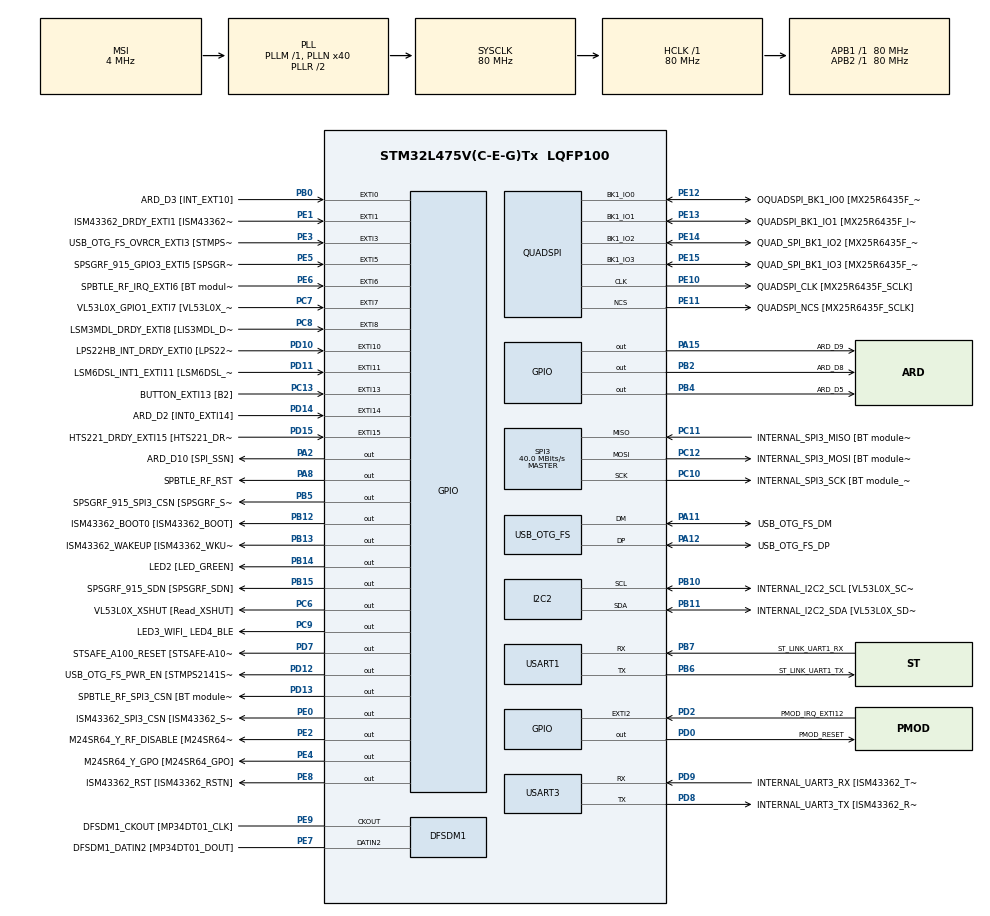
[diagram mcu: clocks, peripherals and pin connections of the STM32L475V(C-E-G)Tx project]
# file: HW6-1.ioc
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ADC1.Channel-0\#ChannelRegularConversion=ADC_CHANNEL_TEMPSENSOR
ADC1.ClockPrescaler=ADC_CLOCK_SYNC_PCLK_DIV4
ADC1.ContinuousConvMode=DISABLE
ADC1.ExternalTrigConv=ADC_EXTERNALTRIG_T1_TRGO
ADC1.NbrOfConversionFlag=1
ADC1.OffsetNumber-0\#ChannelRegularConversion=ADC_OFFSET_NONE
ADC1.Rank-0\#ChannelRegularConversion=1
ADC1.SamplingTime-0\#ChannelRegularConversion=ADC_SAMPLETIME_2CYCLES_5
ADC1.master=1
FREERTOS.Tasks01=defaultTask,24,128,StartDefaultTask,Default,NULL,Dynamic,NULL,NULL;myTask02,24,128,StartTask02,Default,NULL,Dynamic,NULL,NULL
I2C2.Timing=0x10D19CE4
Mcu.Family=STM32L4
Mcu.Name=STM32L475V(C-E-G)Tx
Mcu.Package=LQFP100
NVIC.ADC1_2_IRQn=true\:5\:0\:false\:false\:true\:true\:true\:true\:true
NVIC.EXTI15_10_IRQn=true\:5\:0\:false\:false\:true\:true\:true\:true\:true
NVIC.EXTI9_5_IRQn=true\:5\:0\:false\:false\:true\:true\:true\:true\:true
NVIC.PriorityGroup=NVIC_PRIORITYGROUP_4
PA0.GPIO_Label=ARD_D1 [UART4_TX]
PA0.Signal=UART4_TX
PA1.GPIO_Label=ARD_D0 [UART4_RX]
PA1.Signal=UART4_RX
PA10.GPIO_Label=USB_OTG_FS_ID
PA10.Signal=USB_OTG_FS_ID
PA11.GPIO_Label=USB_OTG_FS_DM
PA11.Mode=Device_Only
PA11.Signal=USB_OTG_FS_DM
PA12.GPIO_Label=USB_OTG_FS_DP
PA12.Mode=Device_Only
PA12.Signal=USB_OTG_FS_DP
PA13\ (JTMS-SWDIO).GPIO_Label=SYS_JTMS_SWDIO
PA13\ (JTMS-SWDIO).Mode=Serial_Wire
PA13\ (JTMS-SWDIO).Signal=SYS_JTMS-SWDIO
PA14\ (JTCK-SWCLK).GPIO_Label=SYS_JTCK_SWCLK
PA14\ (JTCK-SWCLK).Mode=Serial_Wire
PA14\ (JTCK-SWCLK).Signal=SYS_JTCK-SWCLK
PA15\ (JTDI).GPIO_Label=ARD_D9
PA15\ (JTDI).Signal=GPIO_Output
PA2.GPIO_Label=ARD_D10 [SPI_SSN]
PA2.Signal=GPIO_Output
PA3.GPIO_Label=ARD_D4
PA3.Signal=S_TIM2_CH4
PA4.GPIO_Label=ARD_D7
PA4.Signal=ADCx_IN9
PA5.GPIO_Label=ARD_D13 [SPI1_SCK]
PA5.Signal=SPI1_SCK
PA6.GPIO_Label=ARD_D12 [SPI1_MISO]
PA6.Signal=SPI1_MISO
PA7.GPIO_Label=ARD_D11 [SPI1_MOSI]
PA7.Signal=SPI1_MOSI
PA8.GPIO_Label=SPBTLE_RF_RST
PA8.Signal=GPIO_Output
PA9.GPIO_Label=USB_OTG_FS_VBUS [STMPS2141STR_OUT]
PA9.Signal=USB_OTG_FS_VBUS
PB0.GPIO_Label=ARD_D3 [INT_EXT10]
PB0.Signal=GPXTI0
PB1.GPIO_Label=ARD_D6 [ADC1_IN6]
PB1.Signal=ADCx_IN16
PB10.GPIO_Label=INTERNAL_I2C2_SCL [VL53L0X_SCL]
PB10.GPIO_Pu=GPIO_PULLUP
PB10.Mode=I2C
PB10.Signal=I2C2_SCL
PB11.GPIO_Label=INTERNAL_I2C2_SDA [VL53L0X_SDA]
PB11.GPIO_Pu=GPIO_PULLUP
PB11.Mode=I2C
PB11.Signal=I2C2_SDA
PB12.GPIO_Label=ISM43362_BOOT0 [ISM43362_BOOT]
PB12.Signal=GPIO_Output
PB13.GPIO_Label=ISM43362_WAKEUP [ISM43362_WKUP]
PB13.Signal=GPIO_Output
PB14.GPIO_Label=LED2 [LED_GREEN]
PB14.Signal=GPIO_Output
PB15.GPIO_Label=SPSGRF_915_SDN [SPSGRF_SDN]
PB15.Signal=GPIO_Output
PB2.GPIO_Label=ARD_D8
PB2.Signal=GPIO_Output
PB3\ (JTDO-TRACESWO).GPIO_Label=SYS_JTD0_SWO
PB3\ (JTDO-TRACESWO).Signal=SYS_JTDO-SWO
PB4\ (NJTRST).GPIO_Label=ARD_D5
PB4\ (NJTRST).Signal=GPIO_Output
PB5.GPIO_Label=SPSGRF_915_SPI3_CSN [SPSGRF_SPI_CS]
PB5.PinState=GPIO_PIN_SET
PB5.Signal=GPIO_Output
PB6.GPIO_Label=ST_LINK_UART1_TX
PB6.Mode=Asynchronous
PB6.Signal=USART1_TX
PB7.GPIO_Label=ST_LINK_UART1_RX
PB7.Mode=Asynchronous
PB7.Signal=USART1_RX
PB8.GPIO_Label=ARD_D15 [I2C1_SCL]
PB8.Signal=I2C1_SCL
PB9.GPIO_Label=ARD_D14 [I2C1_SDA]
PB9.Signal=I2C1_SDA
PC0.GPIO_Label=ARD_A5 [ADC]
PC0.Signal=ADCx_IN1
PC1.GPIO_Label=ARD_A4 [ADC]
PC1.Signal=ADCx_IN2
PC10.GPIO_Label=INTERNAL_SPI3_SCK [BT module_SPI_SCLK] [ISM43362_SCK]
PC10.Mode=Full_Duplex_Master
PC10.Signal=SPI3_SCK
PC11.GPIO_Label=INTERNAL_SPI3_MISO [BT module_SPI_MISO] [ISM43362_MISO]
PC11.Mode=Full_Duplex_Master
PC11.Signal=SPI3_MISO
PC12.GPIO_Label=INTERNAL_SPI3_MOSI [BT module_SPI_MOSI] [ISM43362_MOSI]
PC12.Mode=Full_Duplex_Master
PC12.Signal=SPI3_MOSI
PC13.GPIO_Label=BUTTON_EXTI13 [B2]
PC13.GPIO_ModeDefaultEXTI=GPIO_MODE_IT_FALLING
PC13.Signal=GPXTI13
PC14-OSC32_IN\ (PC14).Mode=LSE-External-Oscillator
PC14-OSC32_IN\ (PC14).Signal=RCC_OSC32_IN
PC15-OSC32_OUT\ (PC15).Mode=LSE-External-Oscillator
PC15-OSC32_OUT\ (PC15).Signal=RCC_OSC32_OUT
PC2.GPIO_Label=ARD_A3 [ADC]
PC2.Signal=ADCx_IN3
PC3.GPIO_Label=ARD_A2 [ADC]
PC3.Signal=ADCx_IN4
PC4.GPIO_Label=ARD_A1 [ADC]
PC4.Signal=ADCx_IN13
PC5.GPIO_Label=ARD_A0 [ADC]
PC5.Signal=ADCx_IN14
PC6.GPIO_Label=VL53L0X_XSHUT [Read_XSHUT]
PC6.Signal=GPIO_Output
PC7.GPIO_Label=VL53L0X_GPIO1_EXTI7 [VL53L0X_GPIO1]
PC7.Signal=GPXTI7
PC8.GPIO_Label=LSM3MDL_DRDY_EXTI8 [LIS3MDL_DRDY]
PC8.Signal=GPXTI8
PC9.GPIO_Label=LED3_WIFI_ LED4_BLE
PC9.Signal=GPIO_Output
PD0.GPIO_Label=PMOD_RESET
PD0.Signal=GPIO_Output
PD1.GPIO_Label=PMOD_SPI2_SCK
PD1.Signal=SPI2_SCK
PD10.GPIO_Label=LPS22HB_INT_DRDY_EXTI0 [LPS22HB_INT_DRDY] 
PD10.Signal=GPXTI10
PD11.GPIO_Label=LSM6DSL_INT1_EXTI11 [LSM6DSL_INT1]
PD11.Signal=GPXTI11
PD12.GPIO_Label=USB_OTG_FS_PWR_EN [STMPS2141STR_EN]
PD12.Signal=GPIO_Output
PD13.GPIO_Label=SPBTLE_RF_SPI3_CSN [BT module_SPI_CS]
PD13.PinState=GPIO_PIN_SET
PD13.Signal=GPIO_Output
PD14.GPIO_Label=ARD_D2 [INT0_EXTI14]
PD14.Signal=GPXTI14
PD15.GPIO_Label=HTS221_DRDY_EXTI15 [HTS221_DRDY]
PD15.Signal=GPXTI15
PD2.GPIO_Label=PMOD_IRQ_EXTI12
PD2.Signal=GPXTI2
PD3.GPIO_Label=PMOD_UART2_CTS
PD3.Signal=USART2_CTS
PD4.GPIO_Label=PMOD_UART2_RTS
PD4.Signal=USART2_RTS
PD5.GPIO_Label=PMOD_UART2_TX
PD5.Signal=USART2_TX
PD6.GPIO_Label=PMOD_UART2_RX
PD6.Signal=USART2_RX
PD7.GPIO_Label=STSAFE_A100_RESET [STSAFE-A100_RESET]
PD7.Signal=GPIO_Output
PD8.GPIO_Label=INTERNAL_UART3_TX [ISM43362_RX]
PD8.Mode=Asynchronous
PD8.Signal=USART3_TX
PD9.GPIO_Label=INTERNAL_UART3_RX [ISM43362_TX]
PD9.Mode=Asynchronous
PD9.Signal=USART3_RX
PE0.GPIO_Label=ISM43362_SPI3_CSN [ISM43362_SSN]
PE0.PinState=GPIO_PIN_SET
PE0.Signal=GPIO_Output
PE1.GPIO_Label=ISM43362_DRDY_EXTI1 [ISM43362_DATARDY]
PE1.Signal=GPXTI1
PE10.GPIO_Label=QUADSPI_CLK [MX25R6435F_SCLK]
PE10.Mode=Single Bank
PE10.Signal=QUADSPI_CLK
PE11.GPIO_Label=QUADSPI_NCS [MX25R6435F_SCLK]
PE11.Mode=Single Bank
PE11.Signal=QUADSPI_NCS
PE12.GPIO_Label=OQUADSPI_BK1_IO0 [MX25R6435F_IO0]
PE12.Mode=Single Bank
PE12.Signal=QUADSPI_BK1_IO0
PE13.GPIO_Label=QUADSPI_BK1_IO1 [MX25R6435F_IO1]
PE13.Mode=Single Bank
PE13.Signal=QUADSPI_BK1_IO1
PE14.GPIO_Label=QUAD_SPI_BK1_IO2 [MX25R6435F_IO2]
PE14.Mode=Single Bank
PE14.Signal=QUADSPI_BK1_IO2
PE15.GPIO_Label=QUAD_SPI_BK1_IO3 [MX25R6435F_IO3]
PE15.Mode=Single Bank
PE15.Signal=QUADSPI_BK1_IO3
PE2.GPIO_Label=M24SR64_Y_RF_DISABLE [M24SR64_RFDIS]
PE2.Signal=GPIO_Output
PE3.GPIO_Label=USB_OTG_FS_OVRCR_EXTI3 [STMPS2141STR_FAULT]
PE3.Signal=GPXTI3
PE4.GPIO_Label=M24SR64_Y_GPO [M24SR64_GPO]
PE4.Signal=GPIO_Output
PE5.GPIO_Label=SPSGRF_915_GPIO3_EXTI5 [SPSGRF_GPIO_3]
PE5.Signal=GPXTI5
PE6.GPIO_Label=SPBTLE_RF_IRQ_EXTI6 [BT module_SPI_IRQ]
PE6.Signal=GPXTI6
PE7.GPIO_Label=DFSDM1_DATIN2 [MP34DT01_DOUT]
PE7.Signal=S_DATAIN2DFSDM1
PE8.GPIO_Label=ISM43362_RST [ISM43362_RSTN]
PE8.Signal=GPIO_Output
PE9.GPIO_Label=DFSDM1_CKOUT [MP34DT01_CLK]
PE9.Signal=S_CKOUTDFSDM1
ProjectManager.HeapSize=0x200
ProjectManager.StackSize=0x400
ProjectManager.TargetToolchain=STM32CubeIDE
QUADSPI.ClockPrescaler=2
QUADSPI.FifoThreshold=4
QUADSPI.FlashSize=23
QUADSPI.SampleShifting=QSPI_SAMPLE_SHIFTING_HALFCYCLE
RCC.ADCFreq_Value=48000000
RCC.AHBFreq_Value=80000000
RCC.APB1Freq_Value=80000000
RCC.APB1TimFreq_Value=80000000
RCC.APB2Freq_Value=80000000
RCC.APB2TimFreq_Value=80000000
RCC.CortexFreq_Value=80000000
RCC.HCLKFreq_Value=80000000
RCC.HSE_VALUE=8000000
RCC.HSI_VALUE=16000000
RCC.MSI_VALUE=4000000
RCC.PLLN=40
RCC.PLLSAI1N=24
RCC.SYSCLKFreq_VALUE=80000000
RCC.SYSCLKSource=RCC_SYSCLKSOURCE_PLLCLK
RCC.USBFreq_Value=48000000
RCC.VCOOutputFreq_Value=160000000
SH.ADCx_IN1.0=ADC1_IN1
SH.ADCx_IN13.0=ADC1_IN13
SH.ADCx_IN14.0=ADC1_IN14
SH.ADCx_IN16.0=ADC1_IN16
SH.ADCx_IN2.0=ADC1_IN2
SH.ADCx_IN3.0=ADC1_IN3
SH.ADCx_IN4.0=ADC1_IN4
SH.ADCx_IN9.0=ADC1_IN9
SH.S_CKOUTDFSDM1.0=DFSDM1_CKOUT,CKOUT
SH.S_CKOUTDFSDM1.1=DFSDM1_CKOUT,PDM_SPI_Input_from_ch12_and_Internal_Clock
SH.S_DATAIN2DFSDM1.0=DFSDM1_DATIN2,PDM_SPI_Input_from_ch12_and_Internal_Clock
SH.S_TIM2_CH4.0=TIM2_CH4
SPI3.CalculateBaudRate=40.0 MBits/s
SPI3.Direction=SPI_DIRECTION_2LINES
SPI3.Mode=SPI_MODE_MASTER
SPI3.VirtualType=VM_MASTER
TIM1.Period=1999
TIM1.Prescaler=9999
TIM1.TIM_MasterOutputTrigger=TIM_TRGO_UPDATE
USART1.VirtualMode-Asynchronous=VM_ASYNC
USART3.VirtualMode-Asynchronous=VM_ASYNC
USB_OTG_FS.VirtualMode=Device_Only
VP_ADC1_TempSens_Input.Mode=IN-TempSens
VP_FREERTOS_VS_CMSIS_V2.Mode=CMSIS_V2
VP_TIM1_VS_ClockSourceINT.Mode=Internal
board=B-L475E-IOT01A1

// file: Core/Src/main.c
/* USER CODE BEGIN Header */
/**
  ******************************************************************************
  * @file           : main.c
  * @brief          : Main program body
  ******************************************************************************
  * @attention
  *
  * Copyright (c) 2025 STMicroelectronics.
  * All rights reserved.
  *
  * This software is licensed under terms that can be found in the LICENSE file
  * in the root directory of this software component.
  * If no LICENSE file comes with this software, it is provided AS-IS.
  *
  ******************************************************************************
  */
/* USER CODE END Header */
#include "main.h"
#include "cmsis_os.h"
#include <stdio.h>

ADC_HandleTypeDef hadc1;

DFSDM_Channel_HandleTypeDef hdfsdm1_channel1;

I2C_HandleTypeDef hi2c2;

QSPI_HandleTypeDef hqspi;

SPI_HandleTypeDef hspi3;

TIM_HandleTypeDef htim1;

UART_HandleTypeDef huart1;
UART_HandleTypeDef huart3;

PCD_HandleTypeDef hpcd_USB_OTG_FS;

/* Definitions for defaultTask */
osThreadId_t defaultTaskHandle;
const osThreadAttr_t defaultTask_attributes = {
  .name = "defaultTask",
  .stack_size = 128 * 4,
  .priority = (osPriority_t) osPriorityNormal,
};
/* Definitions for myTask02 */
osThreadId_t myTask02Handle;
const osThreadAttr_t myTask02_attributes = {
  .name = "myTask02",
  .stack_size = 128 * 4,
  .priority = (osPriority_t) osPriorityNormal,
};
/* USER CODE BEGIN PV */
osMessageQueueId_t g_adcQueueHandle;
/* USER CODE END PV */

void SystemClock_Config(void);
void PeriphCommonClock_Config(void);
static void MX_GPIO_Init(void);
static void MX_DFSDM1_Init(void);
static void MX_I2C2_Init(void);
static void MX_QUADSPI_Init(void);
static void MX_SPI3_Init(void);
static void MX_USART1_UART_Init(void);
static void MX_USART3_UART_Init(void);
static void MX_USB_OTG_FS_PCD_Init(void);
static void MX_ADC1_Init(void);
static void MX_TIM1_Init(void);
void StartDefaultTask(void *argument);
void StartTask02(void *argument);

/* USER CODE BEGIN 0 */
int __io_putchar(int ch)
{
	HAL_UART_Transmit(&huart1, (uint8_t *)&ch, 1, 0XFFFF);
	return ch;
}

void HAL_ADC_ConvCpltCallback(ADC_HandleTypeDef *hadc)
{
	uint16_t val = HAL_ADC_GetValue(&hadc1);
	osMessageQueuePut(g_adcQueueHandle, &val, 0, 0);
}
/* USER CODE END 0 */

int main(void)
{

  /* MCU Configuration--------------------------------------------------------*/

  /* Reset of all peripherals, Initializes the Flash interface and the Systick. */
  HAL_Init();

  /* Configure the system clock */
  SystemClock_Config();

  /* Configure the peripherals common clocks */
  PeriphCommonClock_Config();

  /* Initialize all configured peripherals */
  MX_GPIO_Init();
  MX_DFSDM1_Init();
  MX_I2C2_Init();
  MX_QUADSPI_Init();
  MX_SPI3_Init();
  MX_USART1_UART_Init();
  MX_USART3_UART_Init();
  MX_USB_OTG_FS_PCD_Init();
  MX_ADC1_Init();
  MX_TIM1_Init();
  /* USER CODE BEGIN 2 */
  HAL_ADC_Start_IT(&hadc1);
  HAL_TIM_Base_Start(&htim1);
  /* USER CODE END 2 */

  /* Init scheduler */
  osKernelInitialize();

  /* USER CODE BEGIN RTOS_QUEUES */
  /* add queues, ... */
  g_adcQueueHandle = osMessageQueueNew(5, sizeof(uint16_t), NULL);
  /* USER CODE END RTOS_QUEUES */

  /* Create the thread(s) */
  /* creation of defaultTask */
  defaultTaskHandle = osThreadNew(StartDefaultTask, NULL, &defaultTask_attributes);

  /* creation of myTask02 */
  myTask02Handle = osThreadNew(StartTask02, NULL, &myTask02_attributes);

  /* Start scheduler */
  osKernelStart();

  /* We should never get here as control is now taken by the scheduler */

  /* Infinite loop */
  while (1)
  {

  }
}

void SystemClock_Config(void)
{
  RCC_OscInitTypeDef RCC_OscInitStruct = {0};
  RCC_ClkInitTypeDef RCC_ClkInitStruct = {0};

  /** Configure the main internal regulator output voltage
  */
  if (HAL_PWREx_ControlVoltageScaling(PWR_REGULATOR_VOLTAGE_SCALE1) != HAL_OK)
  {
    Error_Handler();
  }

  /** Configure LSE Drive Capability
  */
  HAL_PWR_EnableBkUpAccess();
  __HAL_RCC_LSEDRIVE_CONFIG(RCC_LSEDRIVE_LOW);

  /** Initializes the RCC Oscillators according to the specified parameters
  * in the RCC_OscInitTypeDef structure.
  */
  RCC_OscInitStruct.OscillatorType = RCC_OSCILLATORTYPE_LSE|RCC_OSCILLATORTYPE_MSI;
  RCC_OscInitStruct.LSEState = RCC_LSE_ON;
  RCC_OscInitStruct.MSIState = RCC_MSI_ON;
  RCC_OscInitStruct.MSICalibrationValue = 0;
  RCC_OscInitStruct.MSIClockRange = RCC_MSIRANGE_6;
  RCC_OscInitStruct.PLL.PLLState = RCC_PLL_ON;
  RCC_OscInitStruct.PLL.PLLSource = RCC_PLLSOURCE_MSI;
  RCC_OscInitStruct.PLL.PLLM = 1;
  RCC_OscInitStruct.PLL.PLLN = 40;
  RCC_OscInitStruct.PLL.PLLP = RCC_PLLP_DIV7;
  RCC_OscInitStruct.PLL.PLLQ = RCC_PLLQ_DIV2;
  RCC_OscInitStruct.PLL.PLLR = RCC_PLLR_DIV2;
  if (HAL_RCC_OscConfig(&RCC_OscInitStruct) != HAL_OK)
  {
    Error_Handler();
  }

  /** Initializes the CPU, AHB and APB buses clocks
  */
  RCC_ClkInitStruct.ClockType = RCC_CLOCKTYPE_HCLK|RCC_CLOCKTYPE_SYSCLK
                              |RCC_CLOCKTYPE_PCLK1|RCC_CLOCKTYPE_PCLK2;
  RCC_ClkInitStruct.SYSCLKSource = RCC_SYSCLKSOURCE_PLLCLK;
  RCC_ClkInitStruct.AHBCLKDivider = RCC_SYSCLK_DIV1;
  RCC_ClkInitStruct.APB1CLKDivider = RCC_HCLK_DIV1;
  RCC_ClkInitStruct.APB2CLKDivider = RCC_HCLK_DIV1;

  if (HAL_RCC_ClockConfig(&RCC_ClkInitStruct, FLASH_LATENCY_4) != HAL_OK)
  {
    Error_Handler();
  }

  /** Enable MSI Auto calibration
  */
  HAL_RCCEx_EnableMSIPLLMode();
}

void PeriphCommonClock_Config(void)
{
  RCC_PeriphCLKInitTypeDef PeriphClkInit = {0};

  /** Initializes the peripherals clock
  */
  PeriphClkInit.PeriphClockSelection = RCC_PERIPHCLK_USB;
  PeriphClkInit.UsbClockSelection = RCC_USBCLKSOURCE_PLLSAI1;
  PeriphClkInit.PLLSAI1.PLLSAI1Source = RCC_PLLSOURCE_MSI;
  PeriphClkInit.PLLSAI1.PLLSAI1M = 1;
  PeriphClkInit.PLLSAI1.PLLSAI1N = 24;
  PeriphClkInit.PLLSAI1.PLLSAI1P = RCC_PLLP_DIV7;
  PeriphClkInit.PLLSAI1.PLLSAI1Q = RCC_PLLQ_DIV2;
  PeriphClkInit.PLLSAI1.PLLSAI1R = RCC_PLLR_DIV2;
  PeriphClkInit.PLLSAI1.PLLSAI1ClockOut = RCC_PLLSAI1_48M2CLK;
  if (HAL_RCCEx_PeriphCLKConfig(&PeriphClkInit) != HAL_OK)
  {
    Error_Handler();
  }
}

static void MX_ADC1_Init(void)
{

  ADC_MultiModeTypeDef multimode = {0};
  ADC_ChannelConfTypeDef sConfig = {0};

  /** Common config
  */
  hadc1.Instance = ADC1;
  hadc1.Init.ClockPrescaler = ADC_CLOCK_SYNC_PCLK_DIV4;
  hadc1.Init.Resolution = ADC_RESOLUTION_12B;
  hadc1.Init.DataAlign = ADC_DATAALIGN_RIGHT;
  hadc1.Init.ScanConvMode = ADC_SCAN_DISABLE;
  hadc1.Init.EOCSelection = ADC_EOC_SINGLE_CONV;
  hadc1.Init.LowPowerAutoWait = DISABLE;
  hadc1.Init.ContinuousConvMode = DISABLE;
  hadc1.Init.NbrOfConversion = 1;
  hadc1.Init.DiscontinuousConvMode = DISABLE;
  hadc1.Init.ExternalTrigConv = ADC_EXTERNALTRIG_T1_TRGO;
  hadc1.Init.ExternalTrigConvEdge = ADC_EXTERNALTRIGCONVEDGE_RISING;
  hadc1.Init.DMAContinuousRequests = DISABLE;
  hadc1.Init.Overrun = ADC_OVR_DATA_PRESERVED;
  hadc1.Init.OversamplingMode = DISABLE;
  if (HAL_ADC_Init(&hadc1) != HAL_OK)
  {
    Error_Handler();
  }

  /** Configure the ADC multi-mode
  */
  multimode.Mode = ADC_MODE_INDEPENDENT;
  if (HAL_ADCEx_MultiModeConfigChannel(&hadc1, &multimode) != HAL_OK)
  {
    Error_Handler();
  }

  /** Configure Regular Channel
  */
  sConfig.Channel = ADC_CHANNEL_TEMPSENSOR;
  sConfig.Rank = ADC_REGULAR_RANK_1;
  sConfig.SamplingTime = ADC_SAMPLETIME_2CYCLES_5;
  sConfig.SingleDiff = ADC_SINGLE_ENDED;
  sConfig.OffsetNumber = ADC_OFFSET_NONE;
  sConfig.Offset = 0;
  if (HAL_ADC_ConfigChannel(&hadc1, &sConfig) != HAL_OK)
  {
    Error_Handler();
  }

}

static void MX_DFSDM1_Init(void)
{

  hdfsdm1_channel1.Instance = DFSDM1_Channel1;
  hdfsdm1_channel1.Init.OutputClock.Activation = ENABLE;
  hdfsdm1_channel1.Init.OutputClock.Selection = DFSDM_CHANNEL_OUTPUT_CLOCK_SYSTEM;
  hdfsdm1_channel1.Init.OutputClock.Divider = 2;
  hdfsdm1_channel1.Init.Input.Multiplexer = DFSDM_CHANNEL_EXTERNAL_INPUTS;
  hdfsdm1_channel1.Init.Input.DataPacking = DFSDM_CHANNEL_STANDARD_MODE;
  hdfsdm1_channel1.Init.Input.Pins = DFSDM_CHANNEL_FOLLOWING_CHANNEL_PINS;
  hdfsdm1_channel1.Init.SerialInterface.Type = DFSDM_CHANNEL_SPI_RISING;
  hdfsdm1_channel1.Init.SerialInterface.SpiClock = DFSDM_CHANNEL_SPI_CLOCK_INTERNAL;
  hdfsdm1_channel1.Init.Awd.FilterOrder = DFSDM_CHANNEL_FASTSINC_ORDER;
  hdfsdm1_channel1.Init.Awd.Oversampling = 1;
  hdfsdm1_channel1.Init.Offset = 0;
  hdfsdm1_channel1.Init.RightBitShift = 0x00;
  if (HAL_DFSDM_ChannelInit(&hdfsdm1_channel1) != HAL_OK)
  {
    Error_Handler();
  }

}

static void MX_I2C2_Init(void)
{

  hi2c2.Instance = I2C2;
  hi2c2.Init.Timing = 0x10D19CE4;
  hi2c2.Init.OwnAddress1 = 0;
  hi2c2.Init.AddressingMode = I2C_ADDRESSINGMODE_7BIT;
  hi2c2.Init.DualAddressMode = I2C_DUALADDRESS_DISABLE;
  hi2c2.Init.OwnAddress2 = 0;
  hi2c2.Init.OwnAddress2Masks = I2C_OA2_NOMASK;
  hi2c2.Init.GeneralCallMode = I2C_GENERALCALL_DISABLE;
  hi2c2.Init.NoStretchMode = I2C_NOSTRETCH_DISABLE;
  if (HAL_I2C_Init(&hi2c2) != HAL_OK)
  {
    Error_Handler();
  }

  /** Configure Analogue filter
  */
  if (HAL_I2CEx_ConfigAnalogFilter(&hi2c2, I2C_ANALOGFILTER_ENABLE) != HAL_OK)
  {
    Error_Handler();
  }

  /** Configure Digital filter
  */
  if (HAL_I2CEx_ConfigDigitalFilter(&hi2c2, 0) != HAL_OK)
  {
    Error_Handler();
  }

}

static void MX_QUADSPI_Init(void)
{

  /* QUADSPI parameter configuration*/
  hqspi.Instance = QUADSPI;
  hqspi.Init.ClockPrescaler = 2;
  hqspi.Init.FifoThreshold = 4;
  hqspi.Init.SampleShifting = QSPI_SAMPLE_SHIFTING_HALFCYCLE;
  hqspi.Init.FlashSize = 23;
  hqspi.Init.ChipSelectHighTime = QSPI_CS_HIGH_TIME_1_CYCLE;
  hqspi.Init.ClockMode = QSPI_CLOCK_MODE_0;
  if (HAL_QSPI_Init(&hqspi) != HAL_OK)
  {
    Error_Handler();
  }

}

static void MX_SPI3_Init(void)
{

  /* SPI3 parameter configuration*/
  hspi3.Instance = SPI3;
  hspi3.Init.Mode = SPI_MODE_MASTER;
  hspi3.Init.Direction = SPI_DIRECTION_2LINES;
  hspi3.Init.DataSize = SPI_DATASIZE_4BIT;
  hspi3.Init.CLKPolarity = SPI_POLARITY_LOW;
  hspi3.Init.CLKPhase = SPI_PHASE_1EDGE;
  hspi3.Init.NSS = SPI_NSS_SOFT;
  hspi3.Init.BaudRatePrescaler = SPI_BAUDRATEPRESCALER_2;
  hspi3.Init.FirstBit = SPI_FIRSTBIT_MSB;
  hspi3.Init.TIMode = SPI_TIMODE_DISABLE;
  hspi3.Init.CRCCalculation = SPI_CRCCALCULATION_DISABLE;
  hspi3.Init.CRCPolynomial = 7;
  hspi3.Init.CRCLength = SPI_CRC_LENGTH_DATASIZE;
  hspi3.Init.NSSPMode = SPI_NSS_PULSE_ENABLE;
  if (HAL_SPI_Init(&hspi3) != HAL_OK)
  {
    Error_Handler();
  }

}

static void MX_TIM1_Init(void)
{

  TIM_ClockConfigTypeDef sClockSourceConfig = {0};
  TIM_MasterConfigTypeDef sMasterConfig = {0};

  htim1.Instance = TIM1;
  htim1.Init.Prescaler = 9999;
  htim1.Init.CounterMode = TIM_COUNTERMODE_UP;
  htim1.Init.Period = 1999;
  htim1.Init.ClockDivision = TIM_CLOCKDIVISION_DIV1;
  htim1.Init.RepetitionCounter = 0;
  htim1.Init.AutoReloadPreload = TIM_AUTORELOAD_PRELOAD_DISABLE;
  if (HAL_TIM_Base_Init(&htim1) != HAL_OK)
  {
    Error_Handler();
  }
  sClockSourceConfig.ClockSource = TIM_CLOCKSOURCE_INTERNAL;
  if (HAL_TIM_ConfigClockSource(&htim1, &sClockSourceConfig) != HAL_OK)
  {
    Error_Handler();
  }
  sMasterConfig.MasterOutputTrigger = TIM_TRGO_UPDATE;
  sMasterConfig.MasterOutputTrigger2 = TIM_TRGO2_RESET;
  sMasterConfig.MasterSlaveMode = TIM_MASTERSLAVEMODE_DISABLE;
  if (HAL_TIMEx_MasterConfigSynchronization(&htim1, &sMasterConfig) != HAL_OK)
  {
    Error_Handler();
  }

}

static void MX_USART1_UART_Init(void)
{

  huart1.Instance = USART1;
  huart1.Init.BaudRate = 115200;
  huart1.Init.WordLength = UART_WORDLENGTH_8B;
  huart1.Init.StopBits = UART_STOPBITS_1;
  huart1.Init.Parity = UART_PARITY_NONE;
  huart1.Init.Mode = UART_MODE_TX_RX;
  huart1.Init.HwFlowCtl = UART_HWCONTROL_NONE;
  huart1.Init.OverSampling = UART_OVERSAMPLING_16;
  huart1.Init.OneBitSampling = UART_ONE_BIT_SAMPLE_DISABLE;
  huart1.AdvancedInit.AdvFeatureInit = UART_ADVFEATURE_NO_INIT;
  if (HAL_UART_Init(&huart1) != HAL_OK)
  {
    Error_Handler();
  }

}

static void MX_USART3_UART_Init(void)
{

  huart3.Instance = USART3;
  huart3.Init.BaudRate = 115200;
  huart3.Init.WordLength = UART_WORDLENGTH_8B;
  huart3.Init.StopBits = UART_STOPBITS_1;
  huart3.Init.Parity = UART_PARITY_NONE;
  huart3.Init.Mode = UART_MODE_TX_RX;
  huart3.Init.HwFlowCtl = UART_HWCONTROL_NONE;
  huart3.Init.OverSampling = UART_OVERSAMPLING_16;
  huart3.Init.OneBitSampling = UART_ONE_BIT_SAMPLE_DISABLE;
  huart3.AdvancedInit.AdvFeatureInit = UART_ADVFEATURE_NO_INIT;
  if (HAL_UART_Init(&huart3) != HAL_OK)
  {
    Error_Handler();
  }

}

static void MX_USB_OTG_FS_PCD_Init(void)
{

  hpcd_USB_OTG_FS.Instance = USB_OTG_FS;
  hpcd_USB_OTG_FS.Init.dev_endpoints = 6;
  hpcd_USB_OTG_FS.Init.speed = PCD_SPEED_FULL;
  hpcd_USB_OTG_FS.Init.phy_itface = PCD_PHY_EMBEDDED;
  hpcd_USB_OTG_FS.Init.Sof_enable = DISABLE;
  hpcd_USB_OTG_FS.Init.low_power_enable = DISABLE;
  hpcd_USB_OTG_FS.Init.lpm_enable = DISABLE;
  hpcd_USB_OTG_FS.Init.battery_charging_enable = DISABLE;
  hpcd_USB_OTG_FS.Init.use_dedicated_ep1 = DISABLE;
  hpcd_USB_OTG_FS.Init.vbus_sensing_enable = DISABLE;
  if (HAL_PCD_Init(&hpcd_USB_OTG_FS) != HAL_OK)
  {
    Error_Handler();
  }

}

static void MX_GPIO_Init(void)
{
  GPIO_InitTypeDef GPIO_InitStruct = {0};

  /* GPIO Ports Clock Enable */
  __HAL_RCC_GPIOE_CLK_ENABLE();
  __HAL_RCC_GPIOC_CLK_ENABLE();
  __HAL_RCC_GPIOA_CLK_ENABLE();
  __HAL_RCC_GPIOB_CLK_ENABLE();
  __HAL_RCC_GPIOD_CLK_ENABLE();

  /*Configure GPIO pin Output Level */
  HAL_GPIO_WritePin(GPIOE, M24SR64_Y_RF_DISABLE_Pin|M24SR64_Y_GPO_Pin|ISM43362_RST_Pin, GPIO_PIN_RESET);

  /*Configure GPIO pin Output Level */
  HAL_GPIO_WritePin(GPIOA, ARD_D10_Pin|SPBTLE_RF_RST_Pin|ARD_D9_Pin, GPIO_PIN_RESET);

  /*Configure GPIO pin Output Level */
  HAL_GPIO_WritePin(GPIOB, ARD_D8_Pin|ISM43362_BOOT0_Pin|ISM43362_WAKEUP_Pin|LED2_Pin
                          |SPSGRF_915_SDN_Pin|ARD_D5_Pin, GPIO_PIN_RESET);

  /*Configure GPIO pin Output Level */
  HAL_GPIO_WritePin(GPIOD, USB_OTG_FS_PWR_EN_Pin|PMOD_RESET_Pin|STSAFE_A100_RESET_Pin, GPIO_PIN_RESET);

  /*Configure GPIO pin Output Level */
  HAL_GPIO_WritePin(SPBTLE_RF_SPI3_CSN_GPIO_Port, SPBTLE_RF_SPI3_CSN_Pin, GPIO_PIN_SET);

  /*Configure GPIO pin Output Level */
  HAL_GPIO_WritePin(GPIOC, VL53L0X_XSHUT_Pin|LED3_WIFI__LED4_BLE_Pin, GPIO_PIN_RESET);

  /*Configure GPIO pin Output Level */
  HAL_GPIO_WritePin(SPSGRF_915_SPI3_CSN_GPIO_Port, SPSGRF_915_SPI3_CSN_Pin, GPIO_PIN_SET);

  /*Configure GPIO pin Output Level */
  HAL_GPIO_WritePin(ISM43362_SPI3_CSN_GPIO_Port, ISM43362_SPI3_CSN_Pin, GPIO_PIN_SET);

  /*Configure GPIO pins : M24SR64_Y_RF_DISABLE_Pin M24SR64_Y_GPO_Pin ISM43362_RST_Pin ISM43362_SPI3_CSN_Pin */
  GPIO_InitStruct.Pin = M24SR64_Y_RF_DISABLE_Pin|M24SR64_Y_GPO_Pin|ISM43362_RST_Pin|ISM43362_SPI3_CSN_Pin;
  GPIO_InitStruct.Mode = GPIO_MODE_OUTPUT_PP;
  GPIO_InitStruct.Pull = GPIO_NOPULL;
  GPIO_InitStruct.Speed = GPIO_SPEED_FREQ_LOW;
  HAL_GPIO_Init(GPIOE, &GPIO_InitStruct);

  /*Configure GPIO pins : USB_OTG_FS_OVRCR_EXTI3_Pin SPSGRF_915_GPIO3_EXTI5_Pin SPBTLE_RF_IRQ_EXTI6_Pin ISM43362_DRDY_EXTI1_Pin */
  GPIO_InitStruct.Pin = USB_OTG_FS_OVRCR_EXTI3_Pin|SPSGRF_915_GPIO3_EXTI5_Pin|SPBTLE_RF_IRQ_EXTI6_Pin|ISM43362_DRDY_EXTI1_Pin;
  GPIO_InitStruct.Mode = GPIO_MODE_IT_RISING;
  GPIO_InitStruct.Pull = GPIO_NOPULL;
  HAL_GPIO_Init(GPIOE, &GPIO_InitStruct);

  /*Configure GPIO pin : BUTTON_EXTI13_Pin */
  GPIO_InitStruct.Pin = BUTTON_EXTI13_Pin;
  GPIO_InitStruct.Mode = GPIO_MODE_IT_FALLING;
  GPIO_InitStruct.Pull = GPIO_NOPULL;
  HAL_GPIO_Init(BUTTON_EXTI13_GPIO_Port, &GPIO_InitStruct);

  /*Configure GPIO pins : ARD_D1_Pin ARD_D0_Pin */
  GPIO_InitStruct.Pin = ARD_D1_Pin|ARD_D0_Pin;
  GPIO_InitStruct.Mode = GPIO_MODE_AF_PP;
  GPIO_InitStruct.Pull = GPIO_NOPULL;
  GPIO_InitStruct.Speed = GPIO_SPEED_FREQ_VERY_HIGH;
  GPIO_InitStruct.Alternate = GPIO_AF8_UART4;
  HAL_GPIO_Init(GPIOA, &GPIO_InitStruct);

  /*Configure GPIO pins : ARD_D10_Pin SPBTLE_RF_RST_Pin ARD_D9_Pin */
  GPIO_InitStruct.Pin = ARD_D10_Pin|SPBTLE_RF_RST_Pin|ARD_D9_Pin;
  GPIO_InitStruct.Mode = GPIO_MODE_OUTPUT_PP;
  GPIO_InitStruct.Pull = GPIO_NOPULL;
  GPIO_InitStruct.Speed = GPIO_SPEED_FREQ_LOW;
  HAL_GPIO_Init(GPIOA, &GPIO_InitStruct);

  /*Configure GPIO pin : ARD_D4_Pin */
  GPIO_InitStruct.Pin = ARD_D4_Pin;
  GPIO_InitStruct.Mode = GPIO_MODE_AF_PP;
  GPIO_InitStruct.Pull = GPIO_NOPULL;
  GPIO_InitStruct.Speed = GPIO_SPEED_FREQ_LOW;
  GPIO_InitStruct.Alternate = GPIO_AF1_TIM2;
  HAL_GPIO_Init(ARD_D4_GPIO_Port, &GPIO_InitStruct);

  /*Configure GPIO pins : ARD_D13_Pin ARD_D12_Pin ARD_D11_Pin */
  GPIO_InitStruct.Pin = ARD_D13_Pin|ARD_D12_Pin|ARD_D11_Pin;
  GPIO_InitStruct.Mode = GPIO_MODE_AF_PP;
  GPIO_InitStruct.Pull = GPIO_NOPULL;
  GPIO_InitStruct.Speed = GPIO_SPEED_FREQ_VERY_HIGH;
  GPIO_InitStruct.Alternate = GPIO_AF5_SPI1;
  HAL_GPIO_Init(GPIOA, &GPIO_InitStruct);

  /*Configure GPIO pin : ARD_D3_Pin */
  GPIO_InitStruct.Pin = ARD_D3_Pin;
  GPIO_InitStruct.Mode = GPIO_MODE_IT_RISING;
  GPIO_InitStruct.Pull = GPIO_NOPULL;
  HAL_GPIO_Init(ARD_D3_GPIO_Port, &GPIO_InitStruct);

  /*Configure GPIO pins : ARD_D8_Pin ISM43362_BOOT0_Pin ISM43362_WAKEUP_Pin LED2_Pin
                           SPSGRF_915_SDN_Pin ARD_D5_Pin SPSGRF_915_SPI3_CSN_Pin */
  GPIO_InitStruct.Pin = ARD_D8_Pin|ISM43362_BOOT0_Pin|ISM43362_WAKEUP_Pin|LED2_Pin
                          |SPSGRF_915_SDN_Pin|ARD_D5_Pin|SPSGRF_915_SPI3_CSN_Pin;
  GPIO_InitStruct.Mode = GPIO_MODE_OUTPUT_PP;
  GPIO_InitStruct.Pull = GPIO_NOPULL;
  GPIO_InitStruct.Speed = GPIO_SPEED_FREQ_LOW;
  HAL_GPIO_Init(GPIOB, &GPIO_InitStruct);

  /*Configure GPIO pins : LPS22HB_INT_DRDY_EXTI0_Pin LSM6DSL_INT1_EXTI11_Pin ARD_D2_Pin HTS221_DRDY_EXTI15_Pin
                           PMOD_IRQ_EXTI12_Pin */
  GPIO_InitStruct.Pin = LPS22HB_INT_DRDY_EXTI0_Pin|LSM6DSL_INT1_EXTI11_Pin|ARD_D2_Pin|HTS221_DRDY_EXTI15_Pin
                          |PMOD_IRQ_EXTI12_Pin;
  GPIO_InitStruct.Mode = GPIO_MODE_IT_RISING;
  GPIO_InitStruct.Pull = GPIO_NOPULL;
  HAL_GPIO_Init(GPIOD, &GPIO_InitStruct);

  /*Configure GPIO pins : USB_OTG_FS_PWR_EN_Pin SPBTLE_RF_SPI3_CSN_Pin PMOD_RESET_Pin STSAFE_A100_RESET_Pin */
  GPIO_InitStruct.Pin = USB_OTG_FS_PWR_EN_Pin|SPBTLE_RF_SPI3_CSN_Pin|PMOD_RESET_Pin|STSAFE_A100_RESET_Pin;
  GPIO_InitStruct.Mode = GPIO_MODE_OUTPUT_PP;
  GPIO_InitStruct.Pull = GPIO_NOPULL;
  GPIO_InitStruct.Speed = GPIO_SPEED_FREQ_LOW;
  HAL_GPIO_Init(GPIOD, &GPIO_InitStruct);

  /*Configure GPIO pins : VL53L0X_XSHUT_Pin LED3_WIFI__LED4_BLE_Pin */
  GPIO_InitStruct.Pin = VL53L0X_XSHUT_Pin|LED3_WIFI__LED4_BLE_Pin;
  GPIO_InitStruct.Mode = GPIO_MODE_OUTPUT_PP;
  GPIO_InitStruct.Pull = GPIO_NOPULL;
  GPIO_InitStruct.Speed = GPIO_SPEED_FREQ_LOW;
  HAL_GPIO_Init(GPIOC, &GPIO_InitStruct);

  /*Configure GPIO pins : VL53L0X_GPIO1_EXTI7_Pin LSM3MDL_DRDY_EXTI8_Pin */
  GPIO_InitStruct.Pin = VL53L0X_GPIO1_EXTI7_Pin|LSM3MDL_DRDY_EXTI8_Pin;
  GPIO_InitStruct.Mode = GPIO_MODE_IT_RISING;
  GPIO_InitStruct.Pull = GPIO_NOPULL;
  HAL_GPIO_Init(GPIOC, &GPIO_InitStruct);

  /*Configure GPIO pin : PMOD_SPI2_SCK_Pin */
  GPIO_InitStruct.Pin = PMOD_SPI2_SCK_Pin;
  GPIO_InitStruct.Mode = GPIO_MODE_AF_PP;
  GPIO_InitStruct.Pull = GPIO_NOPULL;
  GPIO_InitStruct.Speed = GPIO_SPEED_FREQ_VERY_HIGH;
  GPIO_InitStruct.Alternate = GPIO_AF5_SPI2;
  HAL_GPIO_Init(PMOD_SPI2_SCK_GPIO_Port, &GPIO_InitStruct);

  /*Configure GPIO pins : PMOD_UART2_CTS_Pin PMOD_UART2_RTS_Pin PMOD_UART2_TX_Pin PMOD_UART2_RX_Pin */
  GPIO_InitStruct.Pin = PMOD_UART2_CTS_Pin|PMOD_UART2_RTS_Pin|PMOD_UART2_TX_Pin|PMOD_UART2_RX_Pin;
  GPIO_InitStruct.Mode = GPIO_MODE_AF_PP;
  GPIO_InitStruct.Pull = GPIO_NOPULL;
  GPIO_InitStruct.Speed = GPIO_SPEED_FREQ_VERY_HIGH;
  GPIO_InitStruct.Alternate = GPIO_AF7_USART2;
  HAL_GPIO_Init(GPIOD, &GPIO_InitStruct);

  /*Configure GPIO pins : ARD_D15_Pin ARD_D14_Pin */
  GPIO_InitStruct.Pin = ARD_D15_Pin|ARD_D14_Pin;
  GPIO_InitStruct.Mode = GPIO_MODE_AF_OD;
  GPIO_InitStruct.Pull = GPIO_NOPULL;
  GPIO_InitStruct.Speed = GPIO_SPEED_FREQ_VERY_HIGH;
  GPIO_InitStruct.Alternate = GPIO_AF4_I2C1;
  HAL_GPIO_Init(GPIOB, &GPIO_InitStruct);

  /* EXTI interrupt init*/
  HAL_NVIC_SetPriority(EXTI9_5_IRQn, 5, 0);
  HAL_NVIC_EnableIRQ(EXTI9_5_IRQn);

  HAL_NVIC_SetPriority(EXTI15_10_IRQn, 5, 0);
  HAL_NVIC_EnableIRQ(EXTI15_10_IRQn);

}

void StartDefaultTask(void *argument)
{
  for(;;)
  {
    osDelay(1);
  }
}

void StartTask02(void *argument)
{
  /* USER CODE BEGIN StartTask02 */
  uint16_t received_adc_val; // 用於接收 Queue 傳來的 ADC 數值
  osStatus_t status;         // 用於檢查 Queue 狀態

  /* Infinite loop */
  for(;;)
  {
    // 移除 osDelay(1);
    // osDelay(1);

    // (重要) 等待 Queue 傳來訊息，osWaitForever 代表任務會在此 "阻塞"
    // 直到收到訊息為止。這比 osDelay(1) 更有效率。
    status = osMessageQueueGet(g_adcQueueHandle, &received_adc_val, NULL, osWaitForever);

    // 檢查是否成功收到訊息
    if (status == osOK)
    {
        // 成功收到，將數值 print 出來
        printf("%d\n", received_adc_val);
    }
  }
  /* USER CODE END StartTask02 */
}

void Error_Handler(void)
{
  __disable_irq();
  while (1)
  {
  }
}
